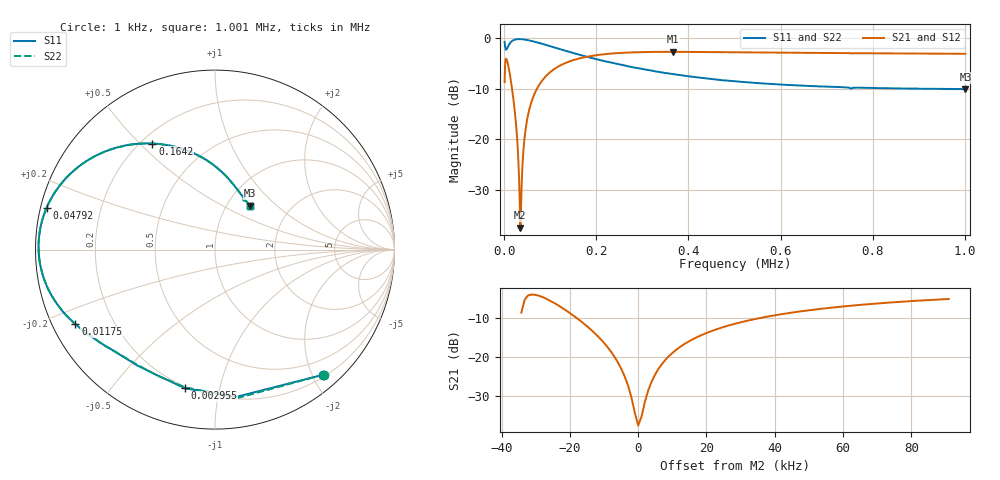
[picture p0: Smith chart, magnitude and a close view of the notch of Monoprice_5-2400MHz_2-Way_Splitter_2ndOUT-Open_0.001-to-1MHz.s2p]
! ListType=Lin
! Comment=Monoprice_5-2400MHz_2-Way_Splitter_2ndOUT-Open_0.001-to-1MHz
# MHZ S DB R 50
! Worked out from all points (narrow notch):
!   1024 points, 1 kHz to 1.001 MHz, reference 50 ohm
!   highest |S21| = -2.67 dB at 365.6 kHz (marker M1); lowest = -37.6 dB at 35.21 kHz (marker M2)
!   notch at M2: 34.6 dB deep, 15.3 kHz wide at half that depth
!   lowest |S11| = -10.1 dB at 1.001 MHz (marker M3), VSWR 1.91, Z = 63.9 + j34.7 ohm
!   |S11| at or under -10 dB: 902.7746 kHz to 904.2212 kHz (1.447 kHz wide, 0.16 % of centre); 904.2383 kHz to 905.4968 kHz (1.259 kHz wide, 0.139 % of centre); 907.5 kHz to end of sweep
!   |S22| runs from -10.1 to -0.1 dB; largest |S21 - S12| = 0.0027
!   S11 on the Smith chart (normalised r, x): 1 kHz: 0.23, -2.17; 2.955 kHz: 0.19, -0.79; 11.75 kHz: 0.07, -0.25; 47.92 kHz: 0.02, +0.12; 164.2 kHz: 0.24, +0.55; 1.001 MHz: 1.28, +0.69
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0.001  -0.70 -49.1  -8.66 54.0  -8.67 54.0  -0.70 -49.0
0.002955  -2.04 -102.1  -4.28 15.2  -4.30 15.3  -2.10 -102.3
0.0078426  -1.75 -139.7  -4.92 -24.1  -4.92 -24.1  -1.73 -139.7
0.0117527  -1.09 -151.9  -6.77 -40.9  -6.78 -40.9  -1.09 -151.9
0.0234829  -0.25 -172.3  -14.80 -66.7  -14.80 -66.7  -0.25 -172.3
0.027393  -0.17 -176.8  -18.85 -70.1  -18.85 -70.1  -0.17 -176.8
0.0322805  -0.14 178.3  -27.47 -64.7  -27.48 -64.6  -0.15 178.3
0.0352131  -0.15 175.7  -37.56 -1.3  -37.56 -1.0  -0.15 175.7
0.0381457  -0.17 173.3  -28.61 70.4  -28.59 70.4  -0.17 173.3
0.0430332  -0.22 169.5  -20.91 78.4  -20.91 78.4  -0.22 169.5
0.0479208  -0.29 166.1  -17.19 77.5  -17.18 77.5  -0.29 166.1
0.0616061  -0.56 157.9  -11.99 71.0  -11.98 71.0  -0.56 157.9
0.084089  -1.12 146.9  -8.19 60.7  -8.19 60.7  -1.13 146.9
0.1642454  -3.27 120.5  -3.96 36.9  -3.96 36.9  -3.28 120.5
0.1681554  -3.37 119.5  -3.87 36.1  -3.87 36.1  -3.37 119.5
0.2434242  -5.05 103.7  -2.94 24.1  -2.95 24.1  -5.05 103.7
0.3353109  -6.65 89.9  -2.68 15.4  -2.68 15.4  -6.66 89.9
0.3656139  -7.09 86.3  -2.67 13.4  -2.67 13.4  -7.09 86.3
0.5014888  -8.52 73.8  -2.75 7.7  -2.75 7.7  -8.52 73.8
0.6676667  -9.47 63.6  -2.88 4.2  -2.88 4.1  -9.47 63.6
0.8348221  -9.91 56.6  -2.98 2.0  -2.98 2.0  -9.91 56.5
1.001  -10.07 51.2  -3.06 0.5  -3.06 0.5  -10.08 51.2
